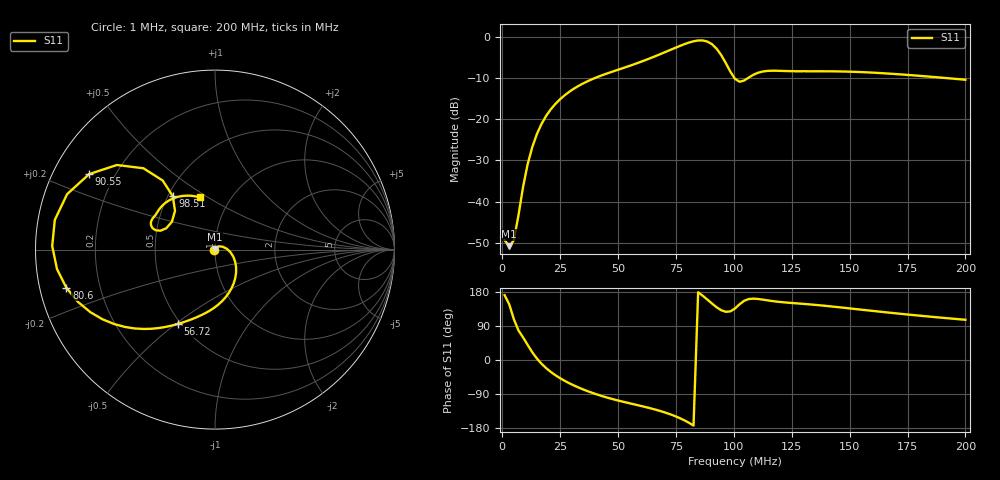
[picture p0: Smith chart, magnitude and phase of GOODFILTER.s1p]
!File created by NanoVNA
# Hz S RI R 50
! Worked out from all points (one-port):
!   101 points, 1 MHz to 200 MHz, reference 50 ohm
!   lowest |S11| = -50.8 dB at 2.99 MHz (marker M1), VSWR 1.01, Z = 49.8 + j0.156 ohm
!   |S11| at or under -10 dB: start of sweep to 39.91 MHz; 100.3 MHz to 106 MHz (5.74 MHz wide, 5.56 % of centre); 192.1 MHz to end of sweep
!   S11 on the Smith chart (normalised r, x): 1 MHz: 0.99, +0.00; 56.72 MHz: 0.48, -0.51; 80.6 MHz: 0.08, -0.13; 90.55 MHz: 0.11, +0.27; 98.51 MHz: 0.53, +0.37; 200 MHz: 0.72, +0.46
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1000000  -0.00335 0.000522
2990000  -0.00241 0.00156
4980000  -0.00104 0.00322
8960000  0.00755 0.0129
1.095e7  0.0218 0.0182
1.493e7  0.0659 0.00464
2.09e7  0.1126 -0.0683
2.687e7  0.1127 -0.1592
3.682e7  0.0396 -0.287
5.075e7  -0.1258 -0.3866
5.672e7  -0.2084 -0.4145
6.866e7  -0.446 -0.4395
7.662e7  -0.6945 -0.3486
8.06e7  -0.8284 -0.2121
8.458e7  -0.907 0.02
8.657e7  -0.8925 0.1654
9.055e7  -0.7013 0.4205
9.254e7  -0.5468 0.4714
9.453e7  -0.399 0.4532
9.851e7  -0.2349 0.297
1.005e8  -0.2229 0.2158
1.0249e8  -0.2401 0.155
1.0647e8  -0.3041 0.1052
1.1244e8  -0.3561 0.1342
1.2637e8  -0.3316 0.1927
1.5025e8  -0.2725 0.263
1.7612e8  -0.169 0.3
2e8  -0.0841 0.2905
